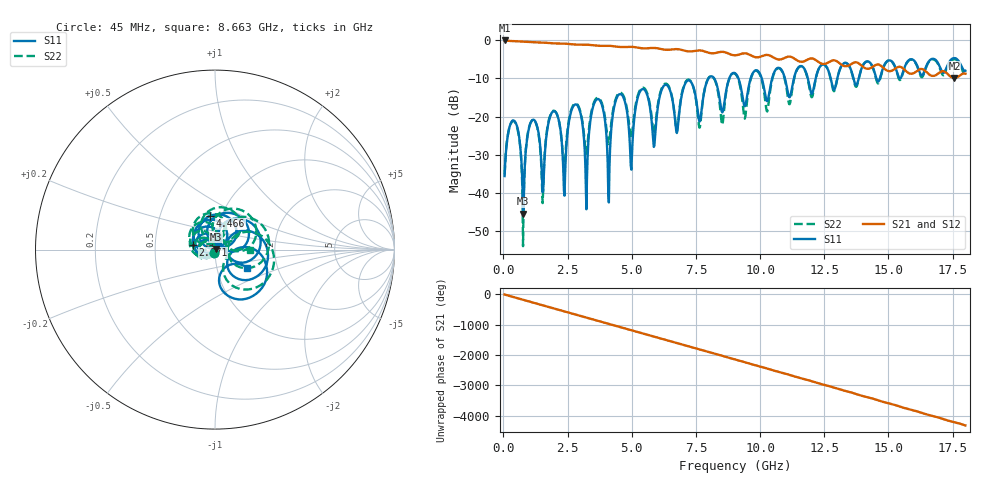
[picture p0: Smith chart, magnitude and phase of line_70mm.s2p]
!Agilent Technologies,E8364A,US41440284,A.06.04.32
!Agilent E8364A: A.06.04.32
!Date: Friday, December 06, 2019 10:14:08
!Correction: S11(Full 2 Port(1,2)) S21(Full 2 Port(1,2)) S12(Full 2 Port(1,2)) S22(Full 2 Port(1,2))
!S2P File: Measurements: S11, S21, S12, S22:
# Hz S  MA  R 50
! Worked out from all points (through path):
!   801 points, 45 MHz to 18 GHz, reference 50 ohm
!   highest |S21| = -0.03 dB at 45 MHz (marker M1); lowest = -9.9 dB at 17.57 GHz (marker M2)
!   group delay of S21, straight-line fit = 666 ps
!   lowest |S11| = -45.5 dB at 763.2 MHz (marker M3), VSWR 1.01, Z = 50.4 + j0.295 ohm
!   |S11| at or under -10 dB: start of sweep to 7.986 GHz; 8.214 GHz to 8.798 GHz (583.5 MHz wide, 6.86 % of centre); 9.157 GHz to 9.632 GHz (475 MHz wide, 5.06 % of centre)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
!   |S22| runs from -54.0 to -4.9 dB; largest |S21 - S12| = 0.0014
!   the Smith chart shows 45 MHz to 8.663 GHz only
!   S11 on the Smith chart (normalised r, x): 45 MHz: 0.99, -0.03; 2.671 GHz: 0.78, +0.04; 4.466 GHz: 0.88, +0.34; 8.663 GHz: 1.40, -0.29
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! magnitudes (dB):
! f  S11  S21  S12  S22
! 45 MHz  -35.6  0.0  0.0  -35.1
! 426.5 MHz  -21.1  -0.2  -0.2  -21.3
! 763.2 MHz  -45.5  -0.3  -0.3  -54.0
! 1.1 GHz  -21.1  -0.5  -0.5  -21.1
! 1.526 GHz  -39.8  -0.6  -0.6  -42.7
! 2.042 GHz  -18.9  -0.8  -0.8  -18.9
! 2.379 GHz  -40.7  -0.9  -0.9  -34.0
! 2.671 GHz  -17.9  -1.0  -1.0  -17.7
! 3.052 GHz  -20.7  -1.1  -1.1  -20.4
! 3.232 GHz  -44.3  -1.1  -1.1  -29.7
! 3.748 GHz  -15.7  -1.4  -1.4  -15.3
! 4.107 GHz  -42.5  -1.4  -1.4  -27.2
! 4.466 GHz  -14.4  -1.7  -1.7  -14.1
! 4.983 GHz  -33.9  -1.7  -1.7  -25.6
! 5.342 GHz  -13.2  -2.0  -2.0  -12.8
! 6.037 GHz  -16.5  -2.1  -2.1  -15.9
! 8.663 GHz  -13.7  -3.2  -3.2  -14.2
! 9.023 GHz  -8.6  -3.9  -3.9  -8.7
! 12.03 GHz  -14.0  -4.7  -4.8  -14.8
! 15.01 GHz  -5.3  -8.1  -8.1  -5.3
! 17.57 GHz  -4.6  -9.9  -9.9  -4.9
! 18 GHz  -8.0  -8.7  -8.7  -8.7
